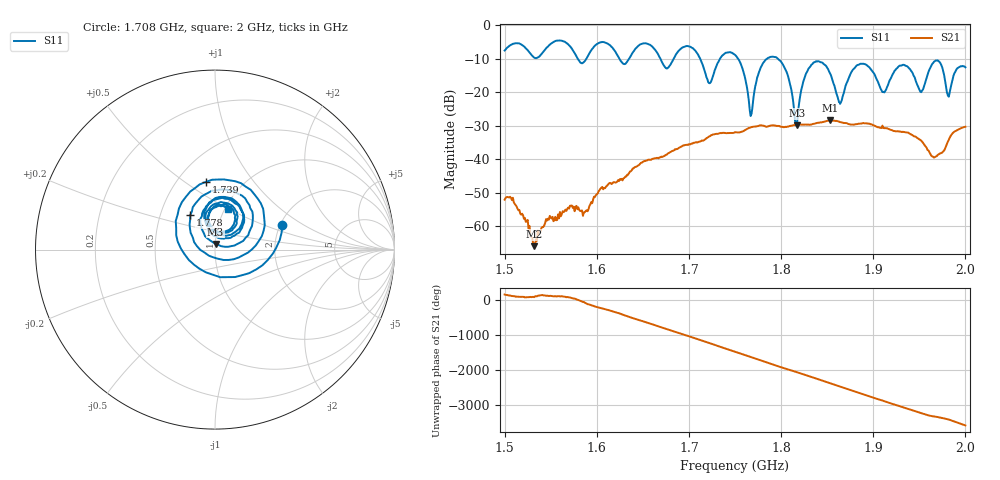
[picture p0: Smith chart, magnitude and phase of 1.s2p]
! NanoVNA-App by SYSJOINT et al v1.1.209 (+OD18)
! Date: 2026-01-21 14:30:32
! Start: 1,5GHz Stop: 2GHz Points: 501
! S-Parameter data: F S11 S21 S12 S22
# Hz S RI R 50
!  Frequency  S11_Real  S11_Imag  S21_Real  S21_Imag  S12_Real  S12_Imag  S22_Real  S22_Imag
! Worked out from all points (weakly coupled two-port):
!   501 points, 1.5 GHz to 2 GHz, reference 50 ohm
!   highest |S21| = -28.41 dB at 1.853 GHz (marker M1); lowest = -66.0 dB at 1.532 GHz (marker M2)
!   lowest |S11| = -29.9 dB at 1.817 GHz (marker M3), VSWR 1.07, Z = 50.2 + j3.2 ohm
!   |S11| at or under -10 dB: 1.712 GHz to 1.734 GHz (21.38 MHz wide, 1.24 % of centre); 1.753 GHz to 1.785 GHz (31.35 MHz wide, 1.77 % of centre); 1.797 GHz to end of sweep (the widest 3 of 6)
!   S12 and S22 are empty: the file has one direction only
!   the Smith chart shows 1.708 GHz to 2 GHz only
!   S11 on the Smith chart (normalised r, x): 1.708 GHz: 2.06, +0.66; 1.739 GHz: 0.69, +0.61; 1.778 GHz: 0.71, +0.29; 2 GHz: 1.04, +0.49
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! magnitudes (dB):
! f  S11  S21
! 1.5 GHz  -7.5  -52.1
! 1.532 GHz  -9.6  -66.0
! 1.584 GHz  -11.3  -55.3
! 1.667 GHz  -8.9  -39.7
! 1.708 GHz  -8.0  -34.9
! 1.722 GHz  -17.3  -33.2
! 1.739 GHz  -8.4  -32.2
! 1.75 GHz  -8.8  -31.9
! 1.767 GHz  -27.1  -30.5
! 1.778 GHz  -12.5  -29.9
! 1.801 GHz  -11.3  -30.3
! 1.817 GHz  -29.9  -29.7
! 1.834 GHz  -11.6  -29.5
! 1.853 GHz  -14.3  -28.4
! 1.864 GHz  -23.5  -28.9
! 1.884 GHz  -11.8  -29.4
! 1.917 GHz  -17.0  -31.0
! 1.934 GHz  -11.9  -31.9
! 1.952 GHz  -20.0  -34.5
! 1.966 GHz  -10.8  -39.5
! 1.982 GHz  -21.3  -34.2
! 2 GHz  -12.5  -30.3
